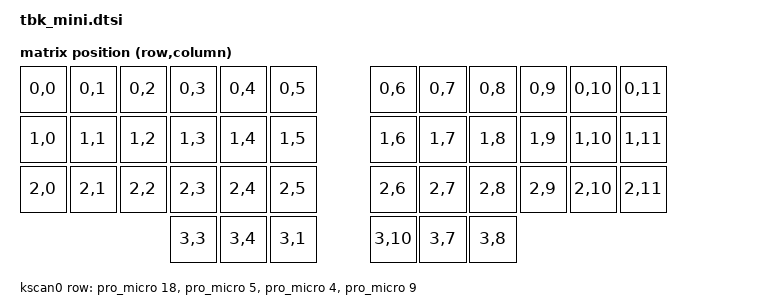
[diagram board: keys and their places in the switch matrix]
/*
 * SPDX-License-Identifier: MIT
 */

#include <dt-bindings/zmk/matrix_transform.h>

/ {
	chosen {
		zmk,kscan = &kscan0;
		zmk,matrix_transform = &default_transform;
	};

	default_transform: keymap_transform_0 {
		compatible = "zmk,matrix-transform";
		columns = <12>;
		rows = <4>;
// | SW1  | SW2  | SW3  | SW4  | SW5  | SW6  |   | SW6  | SW5  | SW4  | SW3  | SW2  | SW1  |
// | SW7  | SW8  | SW9  | SW10 | SW11 | SW12 |   | SW12 | SW11 | SW10 | SW9  | SW8  | SW7  |
// | SW13 | SW14 | SW15 | SW16 | SW17 | SW18 |   | SW18 | SW17 | SW16 | SW15 | SW14 | SW13 |
//                      | SW19 | SW20 | SW21 |   | SW21 | SW20 | SW19 |
		map = <
RC(0,0) RC(0,1) RC(0,2) RC(0,3) RC(0,4) RC(0,5)  RC(0,6)  RC(0,7) RC(0,8) RC(0,9) RC(0,10) RC(0,11)
RC(1,0) RC(1,1) RC(1,2) RC(1,3) RC(1,4) RC(1,5)  RC(1,6)  RC(1,7) RC(1,8) RC(1,9) RC(1,10) RC(1,11)
RC(2,0) RC(2,1) RC(2,2) RC(2,3) RC(2,4) RC(2,5)  RC(2,6)  RC(2,7) RC(2,8) RC(2,9) RC(2,10) RC(2,11)
                        RC(3,3) RC(3,4) RC(3,1)  RC(3,10) RC(3,7) RC(3,8)
		>;
	};

	kscan0: kscan {
		compatible = "zmk,kscan-gpio-matrix";
		label = "KSCAN";

		diode-direction = "row2col";

		row-gpios
			= <&pro_micro 18 GPIO_ACTIVE_HIGH>
			, <&pro_micro 5  GPIO_ACTIVE_HIGH>
			, <&pro_micro 4  GPIO_ACTIVE_HIGH>
			, <&pro_micro 9  GPIO_ACTIVE_HIGH>
			;
		
	};

	/*

 Mapping of nrfmicro pins to pcbs silk marks
 LEGEND: elite_board - main_board | NRFMICRO_PIN (ARDUINO_PIN)
 R1 labled as second X on main pcb

 -       | RAW          (1) 0.06 | -
 -       | GND          (0) 0.08 | -
 -       | RST              GND  | -
 -       | VCC              GND  | -
 R1 - X  | 0.30 (21)    (2) 0.15 | -
 C2      | 0.31 (20)    (3) 0.17 | -
 C1      | 0.29 (19)    (4) 0.20 | R4 - R3
 R2 - R1 | 0.02 (18)    (5) 0.13 | R3 - R2
 -       | 1.13 (15)    (6) 0.24 | C4
 -       | 0.03 (14)    (7) 0.09 | C5
 -       | 0.28 (16)    (8) 0.10 | C6
 C3      | 1.11 (10)    (9) 1.06 | R5 - R4 
 
 */
};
